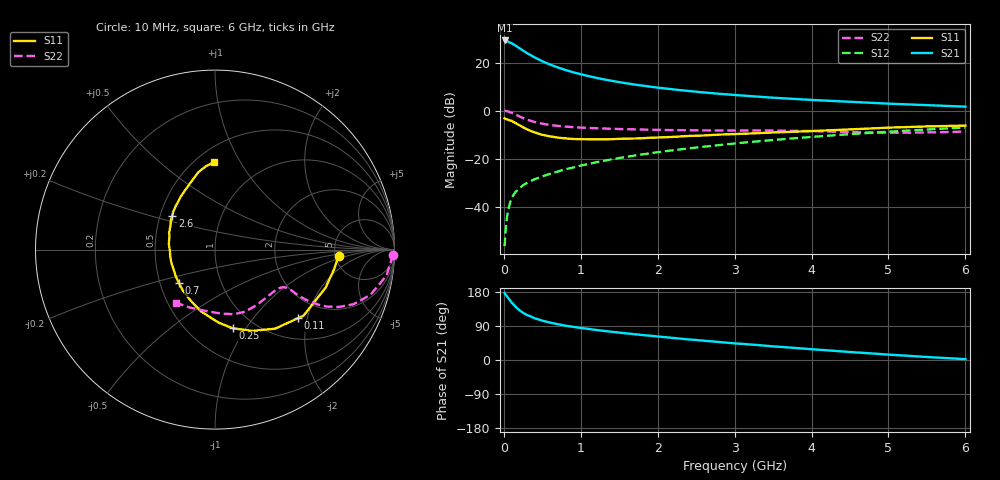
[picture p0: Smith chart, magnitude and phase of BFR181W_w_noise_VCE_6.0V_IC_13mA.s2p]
! Infineon Technologies  Discrete & RF Semiconductors
! BFR181W
! VCE =  6.0 V,  IC =  13 mA
! Common Emitter S-Parameters:  Jan 2017
# GHz  S  MA  R  50
!  f  S11  S21  S12  S22
! GHz  MAG  ANG  MAG  ANG  MAG  ANG  MAG  ANG
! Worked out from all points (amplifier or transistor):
!   77 points, 10 MHz to 6 GHz, reference 50 ohm
!   highest |S21| = 29.2 dB at 10 MHz (marker M1)
!   |S21| within 3 dB of that: start of sweep to 192.2 MHz
!   unconditionally stable (mu >= 1): 884 MHz to 2.806 GHz
!   at 130 MHz: K = 0.31, MSG = 31.2 dB, |S12| = -34.9 dB
!   at 2.2 GHz: K = 1.04, MAG = 11.4 dB, |S12| = -16.5 dB
!   at 6 GHz: K = 0.84, MSG = 4.3 dB, |S12| = -7.0 dB
!   lowest NFmin = 1.39 dB at 450 MHz
!   S11 on the Smith chart (normalised r, x): 10 MHz: 5.34, -0.68; 110 MHz: 1.47, -1.76; 250 MHz: 0.79, -0.87; 700 MHz: 0.63, -0.25; 2.6 GHz: 0.58, +0.24; 6 GHz: 0.61, +0.78
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0.01  0.6889 -2.8  28.89 177.1  0.0015 101.0  0.9898 -1.6
0.02  0.6736 -9.0  28.33 173.5  0.0028 96.8  0.9849 -3.2
0.05  0.6517 -19.0  27.58 165.3  0.0074 80.7  0.9667 -8.6
0.1  0.6156 -36.7  25.35 151.9  0.0149 76.9  0.9032 -16.1
0.11  0.5997 -39.6  24.76 149.9  0.0159 75.1  0.888 -17.1
0.15  0.5537 -52.7  22.73 141.0  0.0199 69.8  0.8302 -21.5
0.2  0.4982 -65.4  20.06 131.7  0.0239 66.9  0.7597 -24.9
0.25  0.4493 -77.3  17.78 124.5  0.0279 64.5  0.6994 -27.0
0.3  0.4074 -87.2  15.78 118.8  0.031 63.5  0.6487 -28.1
0.4  0.3522 -103.1  12.8 110.1  0.0372 63.6  0.5781 -28.9
0.5  0.3134 -116.2  10.65 103.8  0.0425 63.9  0.5325 -28.9
0.6  0.2906 -127.7  9.106 98.7  0.0483 64.8  0.5014 -28.4
0.7  0.274 -137.2  7.924 94.5  0.0537 66.5  0.4799 -28.1
0.9  0.2563 -153.6  6.29 87.5  0.0651 67.6  0.4519 -28.2
1.1  0.2528 -166.7  5.23 82.0  0.0772 68.8  0.4356 -28.8
1.5  0.2581 174.1  3.914 72.3  0.1028 69.3  0.4129 -31.9
2.1  0.2787 153.8  2.887 60.2  0.1425 68.2  0.3943 -40.1
2.6  0.3034 141.7  2.386 50.9  0.177 66.1  0.3869 -48.9
3.1  0.3286 131.0  2.058 42.5  0.2136 63.4  0.3842 -57.7
4.1  0.3804 113.9  1.639 27.0  0.2904 56.6  0.3706 -75.8
5.1  0.4463 100.8  1.375 13.0  0.371 48.1  0.345 -101.1
6  0.4876 90.4  1.208 2.2  0.445 39.5  0.3665 -126.0
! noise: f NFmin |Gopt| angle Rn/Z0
0.45  1.39  0.08  17  0.21
0.9  1.43  0.08  31  0.21
1.9  1.86  0.09  -144  0.21
2.4  2.07  0.11  -109  0.26
